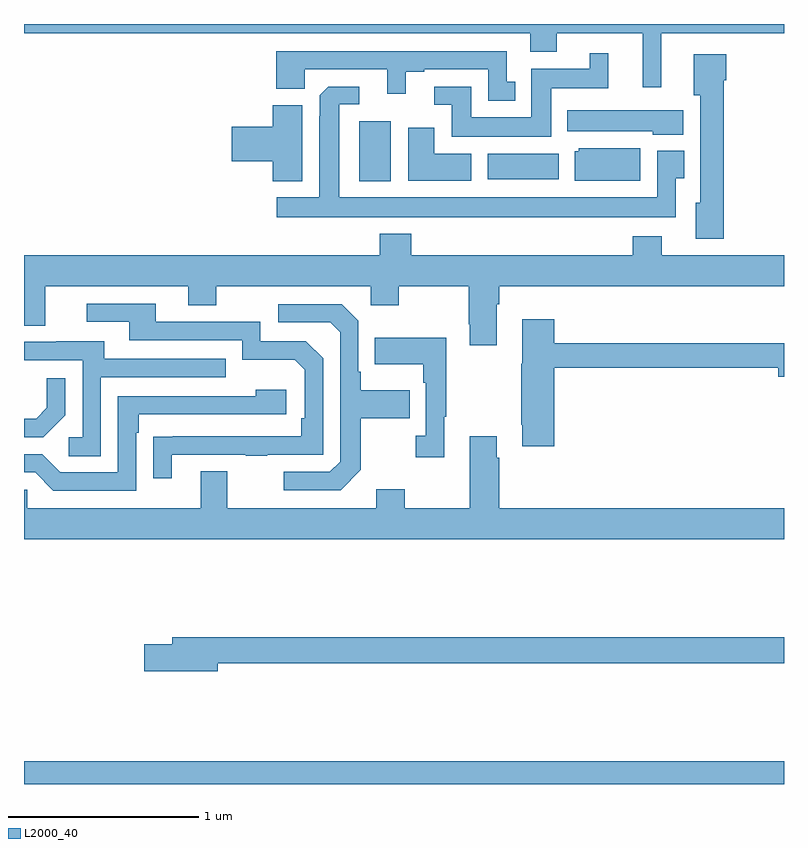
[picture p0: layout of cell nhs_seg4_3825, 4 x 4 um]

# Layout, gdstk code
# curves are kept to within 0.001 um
import gdstk
lib = gdstk.Library(unit=1e-6, precision=1e-09)
def R(c, l, rs):  # rectangles x0, y0, x1, y1
    for r in rs: c.add(gdstk.rectangle(r[:2], r[2:], *l))
def P(c, l, *ps):  # polygons
    for p in ps: c.add(gdstk.Polygon(p, *l))
L2000_40 = (2000, 40)

nhs_seg4_3825 = lib.new_cell('nhs_seg4_3825')
R(nhs_seg4_3825, L2000_40, [(313,760.9,317,761.02), (314.765,764.072,314.929,764.389), (315.44,764.084,315.814,764.218)])
P(nhs_seg4_3825, L2000_40, [(316.354,764.852),(317,764.852),(317,764.9),(313,764.9),(313,764.852),(315.665,764.852),(315.665,764.753),(315.805,764.753),(315.805,764.852),(316.256,764.852),(316.256,764.568),(316.354,764.568)],
  [(315.586,764.595),(315.54,764.595),(315.54,764.757),(314.327,764.757),(314.327,764.558),(314.478,764.558),(314.478,764.661),(314.912,764.661),(314.912,764.532),(315.01,764.532),(315.01,764.649),(315.106,764.649),(315.106,764.661),(315.444,764.661),(315.444,764.495),(315.586,764.495)],
  [(315.775,764.561),(316.076,764.561),(316.076,764.746),(315.977,764.746),(315.977,764.665),(315.671,764.665),(315.671,764.41),(315.355,764.41),(315.355,764.571),(315.159,764.571),(315.159,764.475),(315.251,764.475),(315.251,764.306),(315.775,764.306)],
  [(316.682,764.604),(316.697,764.604),(316.697,764.74),(316.526,764.74),(316.526,764.526),(316.559,764.526),(316.559,763.959),(316.535,763.959),(316.535,763.769),(316.682,763.769)],
  [(316.429,764.089),(316.474,764.089),(316.474,764.233),(316.332,764.233),(316.332,763.987),(314.659,763.987),(314.659,764.478),(314.764,764.478),(314.764,764.571),(314.602,764.571),(314.556,764.525),(314.555,763.987),(314.331,763.987),(314.331,763.883),(316.429,763.883)],
  [(314.464,764.473),(314.309,764.473),(314.309,764.36),(314.094,764.36),(314.094,764.177),(314.309,764.177),(314.309,764.072),(314.464,764.072)],
  [(316.471,764.446),(315.86,764.446),(315.86,764.336),(316.308,764.336),(316.308,764.318),(316.471,764.318)],
  [(315.355,764.218),(315.16,764.218),(315.16,764.353),(315.023,764.353),(315.023,764.075),(315.355,764.075)],
  [(316.243,764.245),(315.921,764.245),(315.921,764.229),(315.899,764.229),(315.899,764.075),(316.243,764.075)],
  [(314.973,763.52),(315.34,763.52),(315.34,763.321),(315.347,763.321),(315.347,763.209),(315.487,763.209),(315.487,763.424),(315.5,763.424),(315.5,763.52),(317,763.52),(317,763.684),(316.357,763.684),(316.357,763.783),(316.205,763.783),(316.205,763.684),(315.038,763.684),(315.038,763.795),(314.873,763.795),(314.873,763.684),(313,763.684),(313,763.312),(313.111,763.312),(313.111,763.52),(313.865,763.52),(313.865,763.421),(314.013,763.421),(314.013,763.52),(314.826,763.52),(314.826,763.421),(314.973,763.421)],
  [(313.777,762.633),(314.167,762.633),(314.167,762.628),(314.279,762.628),(314.279,762.633),(314.574,762.633),(314.574,763.14),(314.484,763.23),(314.244,763.23),(314.244,763.332),(313.693,763.332),(313.693,763.428),(313.329,763.428),(313.329,763.332),(313.553,763.332),(313.553,763.236),(314.148,763.236),(314.148,763.133),(314.425,763.133),(314.478,763.08),(314.478,762.826),(314.458,762.826),(314.458,762.729),(313.681,762.728),(313.681,762.51),(313.777,762.51)],
  [(314.773,762.553),(314.773,762.826),(315.029,762.826),(315.029,762.973),(314.773,762.973),(314.773,763.069),(314.76,763.069),(314.76,763.338),(314.673,763.425),(314.337,763.425),(314.337,763.329),(314.613,763.329),(314.664,763.278),(314.664,762.597),(314.61,762.543),(314.367,762.543),(314.367,762.447),(314.667,762.447)],
  [(315.791,763.09),(316.97,763.09),(316.97,763.043),(317,763.043),(317,763.219),(315.791,763.219),(315.791,763.345),(315.623,763.345),(315.623,763.113),(315.616,763.113),(315.616,762.79),(315.623,762.79),(315.623,762.678),(315.791,762.678)],
  [(315.211,762.833),(315.223,762.833),(315.223,763.249),(314.845,763.249),(314.845,763.109),(315.102,763.109),(315.102,763.013),(315.114,763.013),(315.114,762.734),(315.063,762.734),(315.063,762.621),(315.211,762.621)],
  [(313.404,763.041),(314.063,763.041),(314.063,763.137),(313.423,763.137),(313.423,763.231),(313.169,763.231),(313.169,763.227),(313,763.227),(313,763.131),(313.308,763.131),(313.308,762.726),(313.236,762.726),(313.236,762.625),(313.404,762.625)],
  [(313.218,762.842),(313.218,763.036),(313.121,763.036),(313.121,762.879),(313.064,762.822),(313,762.822),(313,762.726),(313.102,762.726)],
  [(313.59,762.749),(313.603,762.749),(313.603,762.846),(314.38,762.846),(314.38,762.976),(314.219,762.976),(314.219,762.942),(313.494,762.942),(313.494,762.54),(313.191,762.54),(313.095,762.636),(313,762.636),(313,762.54),(313.059,762.54),(313.155,762.444),(313.59,762.444)],
  [(317,762.352),(315.5,762.352),(315.5,762.617),(315.487,762.617),(315.487,762.73),(315.347,762.73),(315.347,762.352),(315.003,762.352),(315.003,762.451),(314.855,762.451),(314.855,762.352),(314.071,762.352),(314.071,762.547),(313.931,762.547),(313.931,762.352),(313.017,762.352),(313.017,762.45),(313,762.45),(313,762.188),(317,762.188)],
  [(314.02,761.536),(317,761.536),(317,761.672),(313.781,761.672),(313.781,761.636),(313.632,761.636),(313.632,761.494),(314.02,761.494)])

lib.write_gds('nhs_seg4_3825.gds')
